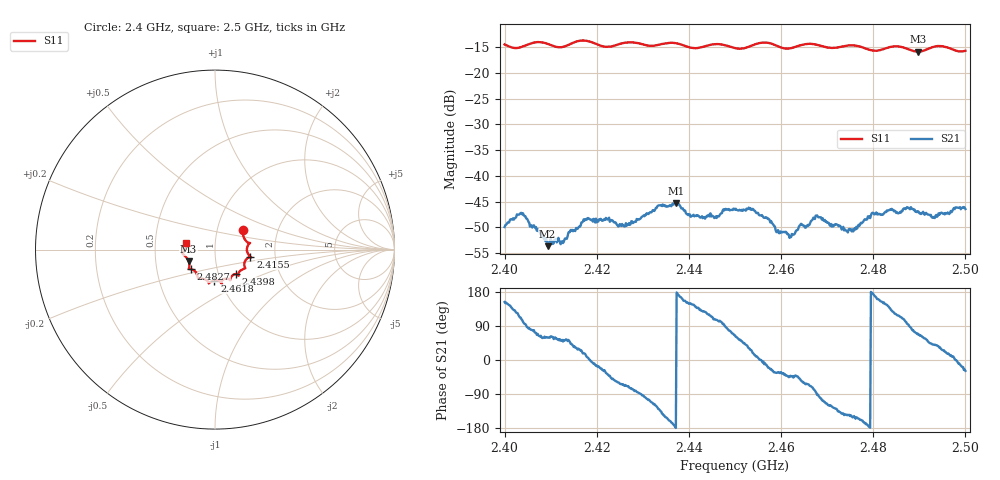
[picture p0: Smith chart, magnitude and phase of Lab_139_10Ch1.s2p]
# Hz S RI R 50
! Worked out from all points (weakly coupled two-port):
!   601 points, 2.4 GHz to 2.5 GHz, reference 50 ohm
!   highest |S21| = -45.28 dB at 2.4372 GHz (marker M1); lowest = -53.7 dB at 2.4093 GHz (marker M2)
!   lowest |S11| = -15.9 dB at 2.4897 GHz (marker M3), VSWR 1.38, Z = 36.9 - j4.86 ohm
!   |S11| at or under -10 dB: start of sweep to end of sweep
!   S12 and S22 are empty: the file has one direction only
!   S11 on the Smith chart (normalised r, x): 2.4 GHz: 1.33, +0.29; 2.4155 GHz: 1.49, -0.12; 2.4398 GHz: 1.21, -0.34; 2.4618 GHz: 0.94, -0.33; 2.4827 GHz: 0.75, -0.17; 2.5 GHz: 0.72, +0.06
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2.4e9  0.1562 0.1066  -0.00284 0.00144  0 0  0 0
2.403833e9  0.1734 0.0479  -0.00112 0.00407  0 0  0 0
2.409333e9  0.189 0.032  0.00107 0.00178  0 0  0 0
2.4125e9  0.178 -0.00748  0.00139 0.00185  0 0  0 0
2.4155e9  0.1971 -0.0395  0.00264 0.00167  0 0  0 0
2.416667e9  0.2018 -0.0427  0.00319 0.00149  0 0  0 0
2.422167e9  0.1668 -0.0656  0.00309 -0.00222  0 0  0 0
2.426333e9  0.1683 -0.1021  0.00129 -0.00322  0 0  0 0
2.433333e9  0.1302 -0.1347  -0.00324 -0.00399  0 0  0 0
2.437167e9  0.1311 -0.1433  -0.00544 -5.84e-05  0 0  0 0
2.439833e9  0.1153 -0.1362  -0.00361 0.00206  0 0  0 0
2.45e9  0.0644 -0.1619  0.00197 0.00426  0 0  0 0
2.453833e9  0.0356 -0.1823  0.00453 0.00152  0 0  0 0
2.461833e9  -0.00314 -0.1727  0.00178 -0.00175  0 0  0 0
2.466667e9  -0.0347 -0.188  0.00118 -0.0035  0 0  0 0
2.468e9  -0.036 -0.1828  -9.01e-05 -0.00398  0 0  0 0
2.474833e9  -0.0926 -0.16  -0.00249 -0.00176  0 0  0 0
2.482667e9  -0.1345 -0.1087  -0.00377 0.00242  0 0  0 0
2.483333e9  -0.1397 -0.1084  -0.00358 0.00291  0 0  0 0
2.489667e9  -0.1473 -0.0642  0.00158 0.00426  0 0  0 0
2.493333e9  -0.1787 -0.025  0.00299 0.00248  0 0  0 0
2.5e9  -0.1594 0.039  0.00419 -0.00227  0 0  0 0
